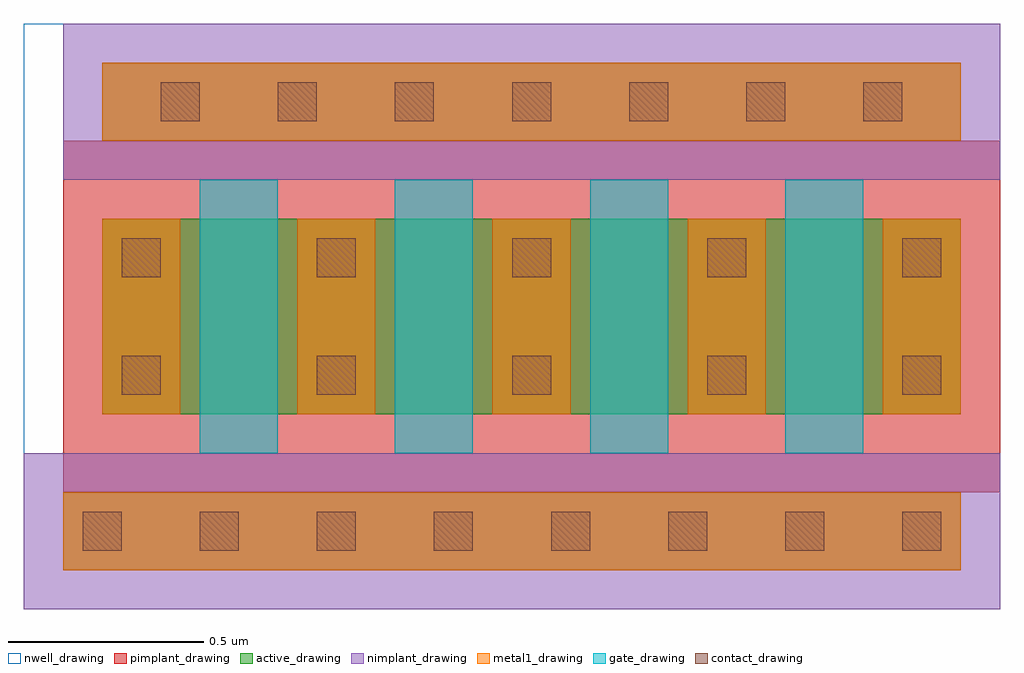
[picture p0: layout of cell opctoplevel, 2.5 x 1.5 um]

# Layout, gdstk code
import gdstk
lib = gdstk.Library(unit=1e-6, precision=1e-09)
def R(c, l, rs):  # rectangles x0, y0, x1, y1
    for r in rs: c.add(gdstk.rectangle(r[:2], r[2:], *l))
def A(c, l, x, y, w, h, nx, ny, dx, dy):  # array of equal rectangles
    R(c, l, [(x+i*dx, y+j*dy, x+i*dx+w, y+j*dy+h) for i in range(nx) for j in range(ny)])
active_drawing = (1, 0)
nwell_drawing = (3, 0)
pimplant_drawing = (4, 0)
nimplant_drawing = (5, 0)
gate_drawing = (6, 0)
contact_drawing = (7, 0)
metal1_drawing = (8, 0)

opctoplevel = lib.new_cell('opctoplevel')
R(opctoplevel, active_drawing, [(-0.35,-0.4,1.95,-0.2), (-0.25,0,1.95,0.5), (-0.25,0.7,1.95,0.9)])
R(opctoplevel, nwell_drawing, [(-0.45,-0.5,2.05,1)])
R(opctoplevel, pimplant_drawing, [(-0.35,-0.2,2.05,0.7)])
R(opctoplevel, nimplant_drawing, [(-0.45,-0.5,2.05,-0.1), (-0.35,0.6,2.05,1)])
A(opctoplevel, gate_drawing, 0, -0.1, 0.2, 0.7, 4, 1, 0.5, 0)
A(opctoplevel, contact_drawing, -0.3, -0.35, 0.1, 0.1, 8, 1, 0.3, 0)
A(opctoplevel, contact_drawing, -0.2, 0.05, 0.1, 0.1, 5, 2, 0.5, 0.3)
A(opctoplevel, contact_drawing, -0.1, 0.75, 0.1, 0.1, 7, 1, 0.3, 0)
A(opctoplevel, metal1_drawing, -0.25, 0, 0.2, 0.5, 5, 1, 0.5, 0)
R(opctoplevel, metal1_drawing, [(-0.35,-0.4,1.95,-0.2), (-0.25,0.7,1.95,0.9)])

lib.write_gds('opctoplevel.gds')
